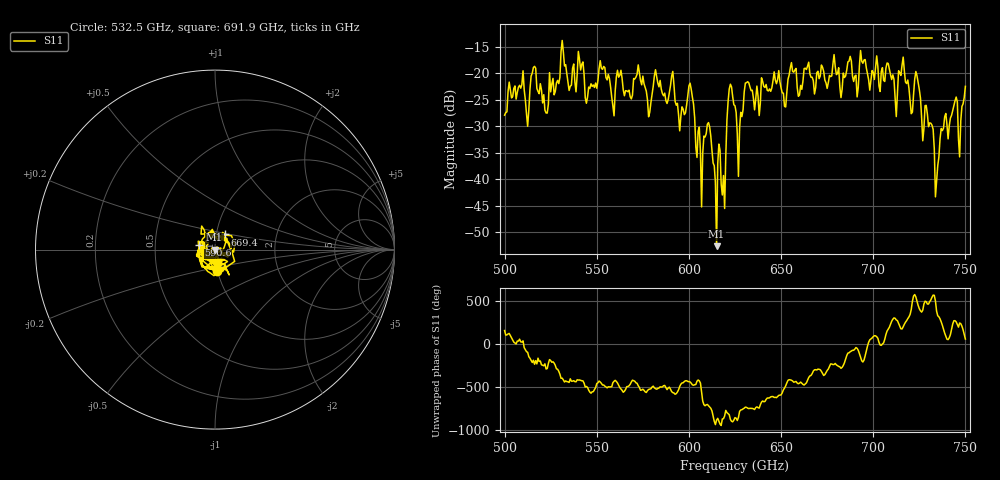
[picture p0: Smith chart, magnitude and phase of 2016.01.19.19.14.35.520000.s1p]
!Created with skrf (http://scikit-rf.org).
# GHz S RI R 50.0
!freq ReS11 ImS11
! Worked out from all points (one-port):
!   401 points, 500 GHz to 750 GHz, reference 50 ohm
!   lowest |S11| = -52.7 dB at 615 GHz (marker M1), VSWR 1.00, Z = 49.8 - j0.0598 ohm
!   |S11| at or under -10 dB: start of sweep to end of sweep
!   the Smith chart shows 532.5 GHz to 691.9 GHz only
!   S11 on the Smith chart (normalised r, x): 532.5 GHz: 1.00, -0.24; 590.6 GHz: 0.83, +0.04; 669.4 GHz: 1.10, +0.19; 691.9 GHz: 1.03, -0.15
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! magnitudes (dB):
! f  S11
! 500 GHz  -27.9
! 508.8 GHz  -22.8
! 512.5 GHz  -30.0
! 515.6 GHz  -18.9
! 522.5 GHz  -27.5
! 531.2 GHz  -13.8
! 532.5 GHz  -18.6
! 545 GHz  -24.5
! 562.5 GHz  -20.3
! 590.6 GHz  -20.5
! 593.8 GHz  -25.6
! 601.2 GHz  -23.0
! 605.6 GHz  -30.2
! 610.6 GHz  -29.3
! 615 GHz  -52.7
! 618.8 GHz  -39.3
! 622.5 GHz  -22.0
! 625 GHz  -26.1
! 656.2 GHz  -19.6
! 669.4 GHz  -19.9
! 687.5 GHz  -16.8
! 691.9 GHz  -22.7
! 718.8 GHz  -21.2
! 723.8 GHz  -20.4
! 734.4 GHz  -40.3
! 738.1 GHz  -30.3
! 747.5 GHz  -28.9
! 750 GHz  -22.4
